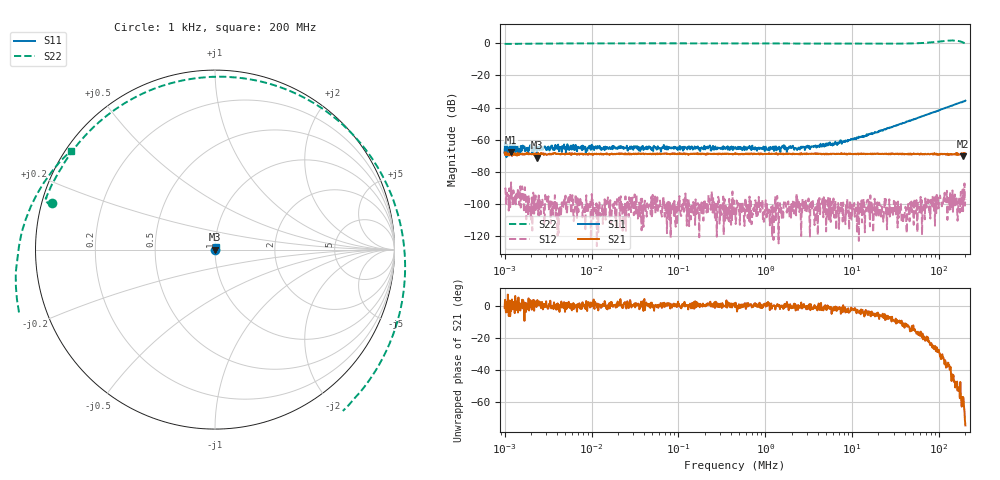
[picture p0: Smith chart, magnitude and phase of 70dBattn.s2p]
! ListType=Log
# MHZ S RI R 50
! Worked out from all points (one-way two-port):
!   1000 points, 1 kHz to 200 MHz, reference 50 ohm
!   highest |S21| = -67.54 dB at 1.187 kHz (marker M1); lowest = -70.1 dB at 185.9 MHz (marker M2)
!   lowest |S11| = -71.1 dB at 2.352 kHz (marker M3), VSWR 1.00, Z = 50 + j0.0093 ohm
!   |S11| at or under -10 dB: start of sweep to end of sweep
!   |S22| runs from -0.5 to 1.7 dB; largest |S21 - S12| = 0.00046
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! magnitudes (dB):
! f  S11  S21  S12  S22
! 1 kHz  -67.9  -68.0  -89.9  -0.5
! 1.144 kHz  -62.8  -69.7  -94.4  -0.5
! 1.187 kHz  -68.0  -67.5  -86.4  -0.5
! 1.425 kHz  -69.2  -69.3  -90.2  -0.4
! 1.591 kHz  -64.4  -69.1  -88.9  -0.4
! 1.82 kHz  -64.9  -68.1  -96.2  -0.4
! 2.352 kHz  -71.1  -68.9  -100.5  -0.3
! 3.929 kHz  -65.0  -68.5  -101.3  -0.2
! 7.694 kHz  -65.0  -68.8  -101.3  -0.2
! 58.48 kHz  -65.5  -68.9  -102.4  -0.1
! 182.2 kHz  -64.9  -69.0  -106.0  -0.1
! 218.8 kHz  -65.4  -68.8  -105.5  -0.1
! 450 kHz  -64.8  -68.3  -102.7  -0.2
! 1.419 MHz  -65.3  -68.6  -124.3  -0.2
! 1.973 MHz  -64.3  -68.7  -108.4  -0.2
! 2.342 MHz  -65.8  -68.9  -96.6  -0.2
! 3.42 MHz  -64.0  -68.6  -102.6  -0.2
! 8.044 MHz  -60.7  -68.8  -108.2  -0.3
! 26.31 MHz  -52.8  -68.5  -106.0  -0.4
! 138.6 MHz  -38.9  -69.3  -100.1  1.6
! 185.9 MHz  -36.4  -70.1  -91.0  0.6
! 200 MHz  -35.7  -68.8  -96.8  -0.2
